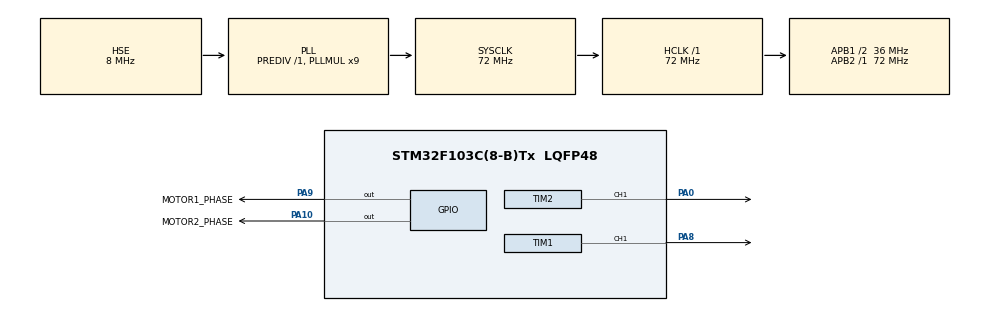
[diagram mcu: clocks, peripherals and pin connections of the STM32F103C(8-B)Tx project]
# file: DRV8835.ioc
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Mcu.Family=STM32F1
Mcu.Name=STM32F103C(8-B)Tx
Mcu.Package=LQFP48
NVIC.PriorityGroup=NVIC_PRIORITYGROUP_4
PA0-WKUP.Signal=S_TIM2_CH1_ETR
PA10.GPIO_Label=MOTOR2_PHASE
PA10.GPIO_Speed=GPIO_SPEED_FREQ_HIGH
PA10.PinState=GPIO_PIN_SET
PA10.Signal=GPIO_Output
PA13.Mode=Serial_Wire
PA13.Signal=SYS_JTMS-SWDIO
PA14.Mode=Serial_Wire
PA14.Signal=SYS_JTCK-SWCLK
PA8.Signal=S_TIM1_CH1
PA9.GPIO_Label=MOTOR1_PHASE
PA9.GPIO_Speed=GPIO_SPEED_FREQ_HIGH
PA9.PinState=GPIO_PIN_RESET
PA9.Signal=GPIO_Output
PD0-OSC_IN.Mode=HSE-External-Oscillator
PD0-OSC_IN.Signal=RCC_OSC_IN
PD1-OSC_OUT.Mode=HSE-External-Oscillator
PD1-OSC_OUT.Signal=RCC_OSC_OUT
ProjectManager.HeapSize=0x200
ProjectManager.StackSize=0x400
ProjectManager.TargetToolchain=STM32CubeIDE
RCC.AHBFreq_Value=72000000
RCC.APB1CLKDivider=RCC_HCLK_DIV2
RCC.APB1Freq_Value=36000000
RCC.APB1TimFreq_Value=72000000
RCC.APB2Freq_Value=72000000
RCC.APB2TimFreq_Value=72000000
RCC.HCLKFreq_Value=72000000
RCC.PLLMUL=RCC_PLL_MUL9
RCC.PLLSourceVirtual=RCC_PLLSOURCE_HSE
RCC.SYSCLKFreq_VALUE=72000000
RCC.SYSCLKSource=RCC_SYSCLKSOURCE_PLLCLK
RCC.USBFreq_Value=72000000
SH.S_TIM1_CH1.0=TIM1_CH1,PWM Generation1 CH1
SH.S_TIM2_CH1_ETR.0=TIM2_CH1,PWM Generation1 CH1
TIM1.Channel-PWM\ Generation1\ CH1=TIM_CHANNEL_1
TIM1.Period=99
TIM1.Prescaler=35
TIM1.Pulse-PWM\ Generation1\ CH1=0
TIM2.Channel-PWM\ Generation1\ CH1=TIM_CHANNEL_1
TIM2.Period=99
TIM2.Prescaler=35
VP_TIM1_VS_ClockSourceINT.Mode=Internal
VP_TIM2_VS_ClockSourceINT.Mode=Internal
board=custom

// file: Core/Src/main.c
/* USER CODE BEGIN Header */
/**
  ******************************************************************************
  * @file           : main.c
  * @brief          : Main program body
  ******************************************************************************
  * @attention
  *
  * Copyright (c) 2023 STMicroelectronics.
  * All rights reserved.
  *
  * This software is licensed under terms that can be found in the LICENSE file
  * in the root directory of this software component.
  * If no LICENSE file comes with this software, it is provided AS-IS.
  *
  ******************************************************************************
  */
/* USER CODE END Header */
#include "main.h"

TIM_HandleTypeDef htim1;
TIM_HandleTypeDef htim2;

void SystemClock_Config(void);
static void MX_GPIO_Init(void);
static void MX_TIM1_Init(void);
static void MX_TIM2_Init(void);

int main(void)
{

  /* MCU Configuration--------------------------------------------------------*/

  /* Reset of all peripherals, Initializes the Flash interface and the Systick. */
  HAL_Init();

  /* Configure the system clock */
  SystemClock_Config();

  /* Initialize all configured peripherals */
  MX_GPIO_Init();
  MX_TIM1_Init();
  MX_TIM2_Init();
  /* USER CODE BEGIN 2 */
  HAL_TIM_PWM_Start(&htim1,TIM_CHANNEL_1);
  HAL_TIM_PWM_Start(&htim2,TIM_CHANNEL_1);
  /* USER CODE END 2 */

  /* Infinite loop */
  while (1)
  {

    /* USER CODE BEGIN 3 */
	  HAL_GPIO_WritePin(MOTOR1_PHASE_GPIO_Port, MOTOR1_PHASE_Pin,
	  							GPIO_PIN_SET);
	  		HAL_GPIO_WritePin(MOTOR2_PHASE_GPIO_Port, MOTOR2_PHASE_Pin,
	  					GPIO_PIN_RESET);
	  			for (int i = 0; i < 50; i++) {
	  				htim1.Instance->CCR1 = i;
	  				htim2.Instance->CCR1 = i;
	  				HAL_Delay(100);
	  			}

	  			for (int i = 50; i > 0; i--) {
	  				htim1.Instance->CCR1 = i;
	  				htim2.Instance->CCR1 = i;
	  				HAL_Delay(100);
	  			}

	  			HAL_GPIO_WritePin(MOTOR1_PHASE_GPIO_Port, MOTOR1_PHASE_Pin,
	  								GPIO_PIN_RESET);
	  			HAL_GPIO_WritePin(MOTOR2_PHASE_GPIO_Port, MOTOR2_PHASE_Pin,
	  					GPIO_PIN_SET);

	  			for (int i = 0; i < 50; i++) {
	  				htim1.Instance->CCR1 = i;
	  				htim2.Instance->CCR1 = i;
	  				HAL_Delay(100);
	  			}

	  			for (int i = 50; i > 0; i--) {
	  				htim1.Instance->CCR1 = i;
	  				htim2.Instance->CCR1 = i;
	  				HAL_Delay(100);
	  			}
  }
  /* USER CODE END 3 */
}

void SystemClock_Config(void)
{
  RCC_OscInitTypeDef RCC_OscInitStruct = {0};
  RCC_ClkInitTypeDef RCC_ClkInitStruct = {0};

  /** Initializes the RCC Oscillators according to the specified parameters
  * in the RCC_OscInitTypeDef structure.
  */
  RCC_OscInitStruct.OscillatorType = RCC_OSCILLATORTYPE_HSE;
  RCC_OscInitStruct.HSEState = RCC_HSE_ON;
  RCC_OscInitStruct.HSEPredivValue = RCC_HSE_PREDIV_DIV1;
  RCC_OscInitStruct.HSIState = RCC_HSI_ON;
  RCC_OscInitStruct.PLL.PLLState = RCC_PLL_ON;
  RCC_OscInitStruct.PLL.PLLSource = RCC_PLLSOURCE_HSE;
  RCC_OscInitStruct.PLL.PLLMUL = RCC_PLL_MUL9;
  if (HAL_RCC_OscConfig(&RCC_OscInitStruct) != HAL_OK)
  {
    Error_Handler();
  }

  /** Initializes the CPU, AHB and APB buses clocks
  */
  RCC_ClkInitStruct.ClockType = RCC_CLOCKTYPE_HCLK|RCC_CLOCKTYPE_SYSCLK
                              |RCC_CLOCKTYPE_PCLK1|RCC_CLOCKTYPE_PCLK2;
  RCC_ClkInitStruct.SYSCLKSource = RCC_SYSCLKSOURCE_PLLCLK;
  RCC_ClkInitStruct.AHBCLKDivider = RCC_SYSCLK_DIV1;
  RCC_ClkInitStruct.APB1CLKDivider = RCC_HCLK_DIV2;
  RCC_ClkInitStruct.APB2CLKDivider = RCC_HCLK_DIV1;

  if (HAL_RCC_ClockConfig(&RCC_ClkInitStruct, FLASH_LATENCY_2) != HAL_OK)
  {
    Error_Handler();
  }
}

static void MX_TIM1_Init(void)
{

  TIM_ClockConfigTypeDef sClockSourceConfig = {0};
  TIM_MasterConfigTypeDef sMasterConfig = {0};
  TIM_OC_InitTypeDef sConfigOC = {0};
  TIM_BreakDeadTimeConfigTypeDef sBreakDeadTimeConfig = {0};

  htim1.Instance = TIM1;
  htim1.Init.Prescaler = 35;
  htim1.Init.CounterMode = TIM_COUNTERMODE_UP;
  htim1.Init.Period = 99;
  htim1.Init.ClockDivision = TIM_CLOCKDIVISION_DIV1;
  htim1.Init.RepetitionCounter = 0;
  htim1.Init.AutoReloadPreload = TIM_AUTORELOAD_PRELOAD_DISABLE;
  if (HAL_TIM_Base_Init(&htim1) != HAL_OK)
  {
    Error_Handler();
  }
  sClockSourceConfig.ClockSource = TIM_CLOCKSOURCE_INTERNAL;
  if (HAL_TIM_ConfigClockSource(&htim1, &sClockSourceConfig) != HAL_OK)
  {
    Error_Handler();
  }
  if (HAL_TIM_PWM_Init(&htim1) != HAL_OK)
  {
    Error_Handler();
  }
  sMasterConfig.MasterOutputTrigger = TIM_TRGO_RESET;
  sMasterConfig.MasterSlaveMode = TIM_MASTERSLAVEMODE_DISABLE;
  if (HAL_TIMEx_MasterConfigSynchronization(&htim1, &sMasterConfig) != HAL_OK)
  {
    Error_Handler();
  }
  sConfigOC.OCMode = TIM_OCMODE_PWM1;
  sConfigOC.Pulse = 0;
  sConfigOC.OCPolarity = TIM_OCPOLARITY_HIGH;
  sConfigOC.OCNPolarity = TIM_OCNPOLARITY_HIGH;
  sConfigOC.OCFastMode = TIM_OCFAST_DISABLE;
  sConfigOC.OCIdleState = TIM_OCIDLESTATE_RESET;
  sConfigOC.OCNIdleState = TIM_OCNIDLESTATE_RESET;
  if (HAL_TIM_PWM_ConfigChannel(&htim1, &sConfigOC, TIM_CHANNEL_1) != HAL_OK)
  {
    Error_Handler();
  }
  sBreakDeadTimeConfig.OffStateRunMode = TIM_OSSR_DISABLE;
  sBreakDeadTimeConfig.OffStateIDLEMode = TIM_OSSI_DISABLE;
  sBreakDeadTimeConfig.LockLevel = TIM_LOCKLEVEL_OFF;
  sBreakDeadTimeConfig.DeadTime = 0;
  sBreakDeadTimeConfig.BreakState = TIM_BREAK_DISABLE;
  sBreakDeadTimeConfig.BreakPolarity = TIM_BREAKPOLARITY_HIGH;
  sBreakDeadTimeConfig.AutomaticOutput = TIM_AUTOMATICOUTPUT_DISABLE;
  if (HAL_TIMEx_ConfigBreakDeadTime(&htim1, &sBreakDeadTimeConfig) != HAL_OK)
  {
    Error_Handler();
  }
  HAL_TIM_MspPostInit(&htim1);

}

static void MX_TIM2_Init(void)
{

  TIM_ClockConfigTypeDef sClockSourceConfig = {0};
  TIM_MasterConfigTypeDef sMasterConfig = {0};
  TIM_OC_InitTypeDef sConfigOC = {0};

  htim2.Instance = TIM2;
  htim2.Init.Prescaler = 35;
  htim2.Init.CounterMode = TIM_COUNTERMODE_UP;
  htim2.Init.Period = 99;
  htim2.Init.ClockDivision = TIM_CLOCKDIVISION_DIV1;
  htim2.Init.AutoReloadPreload = TIM_AUTORELOAD_PRELOAD_DISABLE;
  if (HAL_TIM_Base_Init(&htim2) != HAL_OK)
  {
    Error_Handler();
  }
  sClockSourceConfig.ClockSource = TIM_CLOCKSOURCE_INTERNAL;
  if (HAL_TIM_ConfigClockSource(&htim2, &sClockSourceConfig) != HAL_OK)
  {
    Error_Handler();
  }
  if (HAL_TIM_PWM_Init(&htim2) != HAL_OK)
  {
    Error_Handler();
  }
  sMasterConfig.MasterOutputTrigger = TIM_TRGO_RESET;
  sMasterConfig.MasterSlaveMode = TIM_MASTERSLAVEMODE_DISABLE;
  if (HAL_TIMEx_MasterConfigSynchronization(&htim2, &sMasterConfig) != HAL_OK)
  {
    Error_Handler();
  }
  sConfigOC.OCMode = TIM_OCMODE_PWM1;
  sConfigOC.Pulse = 0;
  sConfigOC.OCPolarity = TIM_OCPOLARITY_HIGH;
  sConfigOC.OCFastMode = TIM_OCFAST_DISABLE;
  if (HAL_TIM_PWM_ConfigChannel(&htim2, &sConfigOC, TIM_CHANNEL_1) != HAL_OK)
  {
    Error_Handler();
  }
  HAL_TIM_MspPostInit(&htim2);

}

static void MX_GPIO_Init(void)
{
  GPIO_InitTypeDef GPIO_InitStruct = {0};

  /* GPIO Ports Clock Enable */
  __HAL_RCC_GPIOD_CLK_ENABLE();
  __HAL_RCC_GPIOA_CLK_ENABLE();

  /*Configure GPIO pin Output Level */
  HAL_GPIO_WritePin(MOTOR1_PHASE_GPIO_Port, MOTOR1_PHASE_Pin, GPIO_PIN_RESET);

  /*Configure GPIO pin Output Level */
  HAL_GPIO_WritePin(MOTOR2_PHASE_GPIO_Port, MOTOR2_PHASE_Pin, GPIO_PIN_SET);

  /*Configure GPIO pins : MOTOR1_PHASE_Pin MOTOR2_PHASE_Pin */
  GPIO_InitStruct.Pin = MOTOR1_PHASE_Pin|MOTOR2_PHASE_Pin;
  GPIO_InitStruct.Mode = GPIO_MODE_OUTPUT_PP;
  GPIO_InitStruct.Pull = GPIO_NOPULL;
  GPIO_InitStruct.Speed = GPIO_SPEED_FREQ_HIGH;
  HAL_GPIO_Init(GPIOA, &GPIO_InitStruct);

}

void Error_Handler(void)
{
  __disable_irq();
  while (1)
  {
  }
}
